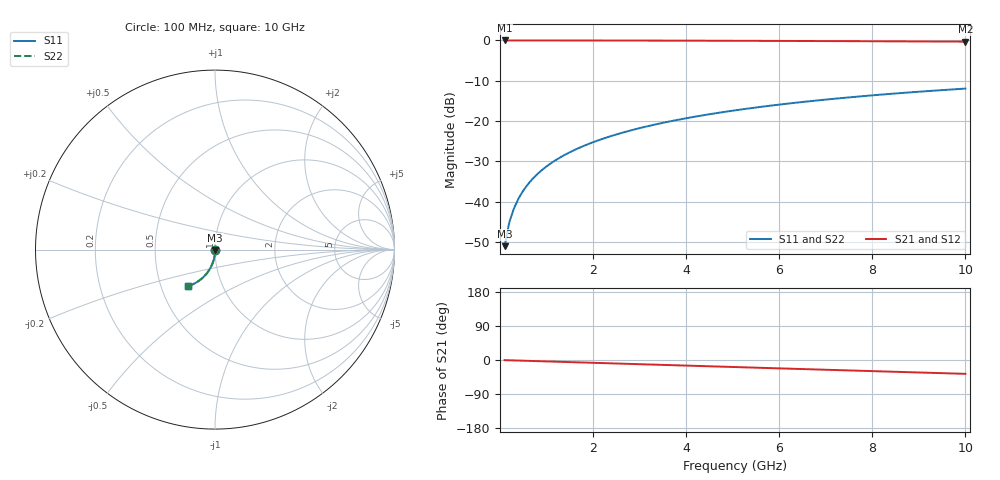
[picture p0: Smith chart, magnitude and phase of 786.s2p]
# Hz S RI R 50.00
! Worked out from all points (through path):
!   100 points, 100 MHz to 10 GHz, reference 50 ohm
!   highest |S21| = -0.01 dB at 100 MHz (marker M1); lowest = -0.3 dB at 10 GHz (marker M2)
!   group delay of S21, straight-line fit = 10.2 ps
!   lowest |S11| = -51.1 dB at 100 MHz (marker M3), VSWR 1.01, Z = 50.1 - j0.274 ohm
!   |S11| at or under -10 dB: start of sweep to end of sweep
!   |S22| runs from -51.1 to -12.0 dB; largest |S21 - S12| = 0
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1e8  0.000582 -0.00273  0.9994 -0.00643  0.9994 -0.00643  0.000582 -0.00273
2e8  0.000529 -0.00546  0.9993 -0.0129  0.9993 -0.0129  0.000529 -0.00546
3e8  0.000439 -0.0082  0.9992 -0.0193  0.9992 -0.0193  0.000439 -0.0082
4e8  0.000314 -0.0109  0.999 -0.0257  0.999 -0.0257  0.000314 -0.0109
5e8  0.000154 -0.0137  0.9988 -0.0321  0.9988 -0.0321  0.000154 -0.0137
6e8  -4.14e-05 -0.0164  0.9985 -0.0386  0.9985 -0.0386  -4.14e-05 -0.0164
7e8  -0.000272 -0.0191  0.9982 -0.045  0.9982 -0.045  -0.000272 -0.0191
8e8  -0.000538 -0.0218  0.9978 -0.0514  0.9978 -0.0514  -0.000538 -0.0218
9e8  -0.000839 -0.0245  0.9974 -0.0578  0.9974 -0.0578  -0.000839 -0.0245
1.1e9  -0.00155 -0.03  0.9964 -0.0706  0.9964 -0.0706  -0.00155 -0.03
1.4e9  -0.00287 -0.0381  0.9945 -0.0898  0.9945 -0.0898  -0.00287 -0.0381
1.8e9  -0.00512 -0.0488  0.9914 -0.1154  0.9914 -0.1154  -0.00512 -0.0488
2.1e9  -0.00717 -0.0567  0.9885 -0.1344  0.9885 -0.1344  -0.00717 -0.0567
2.5e9  -0.0104 -0.0672  0.9841 -0.1597  0.9841 -0.1597  -0.0104 -0.0672
2.9e9  -0.0141 -0.0775  0.9788 -0.1848  0.9788 -0.1848  -0.0141 -0.0775
3.4e9  -0.0195 -0.0901  0.9712 -0.216  0.9712 -0.216  -0.0195 -0.0901
4.2e9  -0.0298 -0.1094  0.9567 -0.265  0.9567 -0.265  -0.0298 -0.1094
5.1e9  -0.0436 -0.1297  0.937 -0.3187  0.937 -0.3187  -0.0436 -0.1297
5.9e9  -0.0578 -0.1462  0.9166 -0.365  0.9166 -0.365  -0.0578 -0.1462
6.7e9  -0.0734 -0.1611  0.8937 -0.4098  0.8937 -0.4098  -0.0734 -0.1611
8.4e9  -0.1109 -0.1869  0.8376 -0.499  0.8376 -0.499  -0.1109 -0.1869
1e10  -0.1499 -0.2031  0.7768 -0.5749  0.7768 -0.5749  -0.1499 -0.2031
